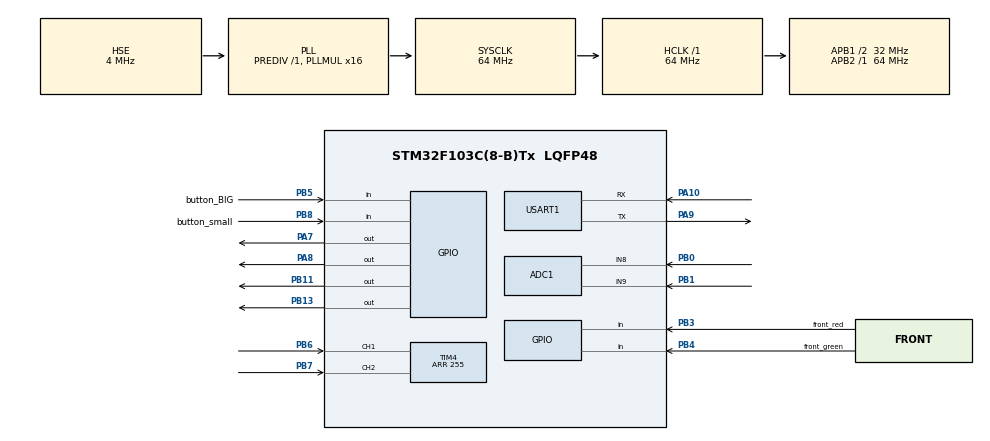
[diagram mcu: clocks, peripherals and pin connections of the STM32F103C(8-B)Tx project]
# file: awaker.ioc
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ADC1.Channel-8\#ChannelRegularConversion=ADC_CHANNEL_8
ADC1.NbrOfConversionFlag=1
ADC1.Rank-8\#ChannelRegularConversion=1
ADC1.SamplingTime-8\#ChannelRegularConversion=ADC_SAMPLETIME_1CYCLE_5
ADC1.master=1
Mcu.Family=STM32F1
Mcu.Name=STM32F103C(8-B)Tx
Mcu.Package=LQFP48
NVIC.PriorityGroup=NVIC_PRIORITYGROUP_4
NVIC.TIM2_IRQn=true\:0\:0\:false\:false\:true
PA10.Mode=Asynchronous
PA10.Signal=USART1_RX
PA13.Mode=Serial_Wire
PA13.Signal=SYS_JTMS-SWDIO
PA14.Mode=Serial_Wire
PA14.Signal=SYS_JTCK-SWCLK
PA7.Signal=GPIO_Output
PA8.Signal=GPIO_Output
PA9.Mode=Asynchronous
PA9.Signal=USART1_TX
PB0.Signal=ADCx_IN8
PB1.Signal=ADCx_IN9
PB11.Signal=GPIO_Output
PB13.Signal=GPIO_Output
PB3.GPIO_Label=front_red
PB3.Signal=GPIO_Input
PB4.GPIO_Label=front_green
PB4.Signal=GPIO_Input
PB5.GPIO_Label=button_BIG
PB5.Signal=GPIO_Input
PB6.Signal=S_TIM4_CH1
PB7.Signal=S_TIM4_CH2
PB8.GPIO_Label=button_small
PB8.Signal=GPIO_Input
PC14-OSC32_IN.Mode=LSE-External-Oscillator
PC14-OSC32_IN.Signal=RCC_OSC32_IN
PC15-OSC32_OUT.Mode=LSE-External-Oscillator
PC15-OSC32_OUT.Signal=RCC_OSC32_OUT
PD0-OSC_IN.Mode=HSE-External-Oscillator
PD0-OSC_IN.Signal=RCC_OSC_IN
PD1-OSC_OUT.Mode=HSE-External-Oscillator
PD1-OSC_OUT.Signal=RCC_OSC_OUT
ProjectManager.HeapSize=0x1000
ProjectManager.StackSize=0x2000
ProjectManager.TargetToolchain=SW4STM32
RCC.ADCPresc=RCC_ADCPCLK2_DIV6
RCC.AHBFreq_Value=64000000
RCC.APB1CLKDivider=RCC_HCLK_DIV2
RCC.APB1Freq_Value=32000000
RCC.APB1TimFreq_Value=64000000
RCC.APB2Freq_Value=64000000
RCC.APB2TimFreq_Value=64000000
RCC.HCLKFreq_Value=64000000
RCC.HSE_VALUE=4000000
RCC.HSIState=RCC_HSI_ON
RCC.PLLMUL=RCC_PLL_MUL16
RCC.PLLSourceVirtual=RCC_PLLSOURCE_HSE
RCC.SYSCLKFreq_VALUE=64000000
RCC.SYSCLKSource=RCC_SYSCLKSOURCE_PLLCLK
RCC.USBFreq_Value=64000000
SH.ADCx_IN8.0=ADC1_IN8,IN8
SH.ADCx_IN9.0=ADC1_IN9,IN9
SH.S_TIM4_CH1.0=TIM4_CH1,Encoder_Interface
SH.S_TIM4_CH2.0=TIM4_CH2,Encoder_Interface
TIM2.Prescaler=640
TIM4.EncoderMode=TIM_ENCODERMODE_TI2
TIM4.Period=255
VP_RTC_No_RTC_Output.Mode=RTC_OUT_NO
VP_TIM2_VS_ClockSourceINT.Mode=Internal
board=awaker

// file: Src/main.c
/**
  ******************************************************************************
  * File Name          : main.c
  * Description        : Main program body
  ******************************************************************************
  *
  * COPYRIGHT(c) 2016 STMicroelectronics
  *
  * Redistribution and use in source and binary forms, with or without modification,
  * are permitted provided that the following conditions are met:
  *   1. Redistributions of source code must retain the above copyright notice,
  *      this list of conditions and the following disclaimer.
  *   2. Redistributions in binary form must reproduce the above copyright notice,
  *      this list of conditions and the following disclaimer in the documentation
  *      and/or other materials provided with the distribution.
  *   3. Neither the name of STMicroelectronics nor the names of its contributors
  *      may be used to endorse or promote products derived from this software
  *      without specific prior written permission.
  *
  * THIS SOFTWARE IS PROVIDED BY THE COPYRIGHT HOLDERS AND CONTRIBUTORS "AS IS"
  * AND ANY EXPRESS OR IMPLIED WARRANTIES, INCLUDING, BUT NOT LIMITED TO, THE
  * IMPLIED WARRANTIES OF MERCHANTABILITY AND FITNESS FOR A PARTICULAR PURPOSE ARE
  * DISCLAIMED. IN NO EVENT SHALL THE COPYRIGHT HOLDER OR CONTRIBUTORS BE LIABLE
  * FOR ANY DIRECT, INDIRECT, INCIDENTAL, SPECIAL, EXEMPLARY, OR CONSEQUENTIAL
  * DAMAGES (INCLUDING, BUT NOT LIMITED TO, PROCUREMENT OF SUBSTITUTE GOODS OR
  * SERVICES; LOSS OF USE, DATA, OR PROFITS; OR BUSINESS INTERRUPTION) HOWEVER
  * CAUSED AND ON ANY THEORY OF LIABILITY, WHETHER IN CONTRACT, STRICT LIABILITY,
  * OR TORT (INCLUDING NEGLIGENCE OR OTHERWISE) ARISING IN ANY WAY OUT OF THE USE
  * OF THIS SOFTWARE, EVEN IF ADVISED OF THE POSSIBILITY OF SUCH DAMAGE.
  *
  ******************************************************************************
  */
#include "stm32f1xx_hal.h"
#include "adc.h"
#include "rtc.h"
#include "tim.h"
#include "usart.h"
#include "gpio.h"

/* USER CODE BEGIN Includes */
#include "hd44780.h"
#include "controls.h"
#include "app.h"
#include "speaker.h"
/* USER CODE END Includes */

/* USER CODE BEGIN PV */
/* Private variables ---------------------------------------------------------*/

/* USER CODE END PV */

void SystemClock_Config(void);
void Error_Handler(void);

/* USER CODE BEGIN PFP */
/* Private function prototypes -----------------------------------------------*/

/* USER CODE END PFP */

/* USER CODE BEGIN 0 */
void HAL_TIM_PeriodElapsedCallback(TIM_HandleTypeDef *htim)
{
    //if(htim == &htim2)
    //{
	speaker_update();
	//}
}

/* USER CODE END 0 */

int main(void)
{

  /* MCU Configuration----------------------------------------------------------*/

  /* Reset of all peripherals, Initializes the Flash interface and the Systick. */
  HAL_Init();

  /* Configure the system clock */
  SystemClock_Config();

  /* Initialize all configured peripherals */
  MX_GPIO_Init();
  MX_RTC_Init();
  MX_ADC1_Init();
  MX_TIM4_Init();
  MX_TIM2_Init();
  MX_USART1_UART_Init();

  /* USER CODE BEGIN 2 */
  char udg[] = { 0x00, 0x00, 0x0a, 0x00, 0x11, 0x0e, 0x00, 0x00 };
  hd44780_init(GPIOA, GPIO_PIN_0, GPIO_PIN_1, GPIO_PIN_2, GPIO_PIN_3,
			GPIO_PIN_4, GPIO_PIN_5, GPIO_PIN_6, HD44780_LINES_2,
			HD44780_FONT_5x8);
  hd44780_brightness(1);
  hd44780_cgram(0, udg);
  hd44780_position(0, 1);
  hd44780_print("Hello World! ");
  hd44780_put(0);
  hd44780_display(true, false, false);
  HAL_Delay(300);
  hd44780_clear();
  HAL_TIM_Encoder_Start(&htim4, TIM_CHANNEL_1);

  controls_init();
  controls_set_buttons_handler(&apps_input_buttons);
  controls_set_encoder_handler(0, &apps_input_encoder);

  clock_init();

  apps_init();
  app_switch(APP_CLOCK_ID);
  printf("Started!\n");
  /* USER CODE END 2 */

  /* Infinite loop */
  /* USER CODE BEGIN WHILE */
  uint32_t i = 0;
  while (1)
  {
      i++;
      if(i % 100 == 1)
      {
	  apps_draw();
      }
      apps_update();
      clock_update();
      controls_update();
      HAL_Delay(1);
  /* USER CODE END WHILE */

  }

}

/** System Clock Configuration
*/
void SystemClock_Config(void)
{

  RCC_OscInitTypeDef RCC_OscInitStruct;
  RCC_ClkInitTypeDef RCC_ClkInitStruct;
  RCC_PeriphCLKInitTypeDef PeriphClkInit;

  RCC_OscInitStruct.OscillatorType = RCC_OSCILLATORTYPE_LSI|RCC_OSCILLATORTYPE_HSE;
  RCC_OscInitStruct.HSEState = RCC_HSE_ON;
  RCC_OscInitStruct.HSEPredivValue = RCC_HSE_PREDIV_DIV1;
  RCC_OscInitStruct.LSIState = RCC_LSI_ON;
  RCC_OscInitStruct.PLL.PLLState = RCC_PLL_ON;
  RCC_OscInitStruct.PLL.PLLSource = RCC_PLLSOURCE_HSE;
  RCC_OscInitStruct.PLL.PLLMUL = RCC_PLL_MUL16;
  if (HAL_RCC_OscConfig(&RCC_OscInitStruct) != HAL_OK)
  {
    Error_Handler();
  }

  RCC_ClkInitStruct.ClockType = RCC_CLOCKTYPE_HCLK|RCC_CLOCKTYPE_SYSCLK
                              |RCC_CLOCKTYPE_PCLK1|RCC_CLOCKTYPE_PCLK2;
  RCC_ClkInitStruct.SYSCLKSource = RCC_SYSCLKSOURCE_PLLCLK;
  RCC_ClkInitStruct.AHBCLKDivider = RCC_SYSCLK_DIV1;
  RCC_ClkInitStruct.APB1CLKDivider = RCC_HCLK_DIV2;
  RCC_ClkInitStruct.APB2CLKDivider = RCC_HCLK_DIV1;
  if (HAL_RCC_ClockConfig(&RCC_ClkInitStruct, FLASH_LATENCY_2) != HAL_OK)
  {
    Error_Handler();
  }

  PeriphClkInit.PeriphClockSelection = RCC_PERIPHCLK_RTC|RCC_PERIPHCLK_ADC;
  PeriphClkInit.RTCClockSelection = RCC_RTCCLKSOURCE_LSI;
  PeriphClkInit.AdcClockSelection = RCC_ADCPCLK2_DIV6;
  if (HAL_RCCEx_PeriphCLKConfig(&PeriphClkInit) != HAL_OK)
  {
    Error_Handler();
  }

  HAL_SYSTICK_Config(HAL_RCC_GetHCLKFreq()/1000);

  HAL_SYSTICK_CLKSourceConfig(SYSTICK_CLKSOURCE_HCLK);

  /* SysTick_IRQn interrupt configuration */
  HAL_NVIC_SetPriority(SysTick_IRQn, 0, 0);
}

void Error_Handler(void)
{
  while(1)
  {
  }
}

/************************ (C) COPYRIGHT STMicroelectronics *****END OF FILE****/
